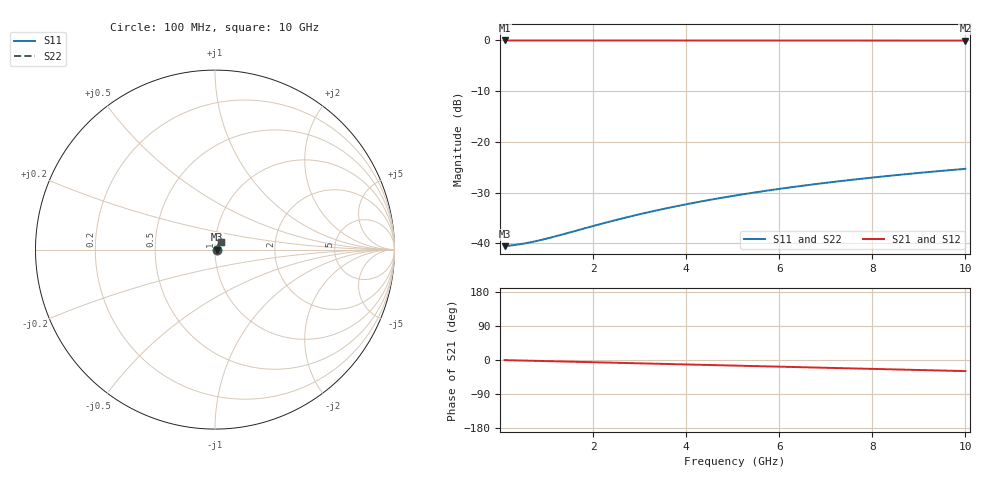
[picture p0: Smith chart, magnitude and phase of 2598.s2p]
# Hz S RI R 50.00
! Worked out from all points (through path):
!   100 points, 100 MHz to 10 GHz, reference 50 ohm
!   highest |S21| = -0.08 dB at 100 MHz (marker M1); lowest = -0.1 dB at 10 GHz (marker M2)
!   group delay of S21, straight-line fit = 8.14 ps
!   lowest |S11| = -40.5 dB at 100 MHz (marker M3), VSWR 1.02, Z = 50.9 + j0.0519 ohm
!   |S11| at or under -10 dB: start of sweep to end of sweep
!   |S22| runs from -40.5 to -25.3 dB; largest |S21 - S12| = 0
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1e8  0.00937 0.00051  0.9906 -0.00507  0.9906 -0.00507  0.00937 0.00051
4e8  0.00955 0.00204  0.9903 -0.0203  0.9903 -0.0203  0.00955 0.00204
6e8  0.00966 0.00305  0.9899 -0.0304  0.9899 -0.0304  0.00966 0.00305
8e8  0.00978 0.00406  0.9895 -0.0405  0.9895 -0.0405  0.00978 0.00406
1e9  0.00991 0.00507  0.989 -0.0506  0.989 -0.0506  0.00991 0.00507
1.2e9  0.0101 0.00608  0.9884 -0.0608  0.9884 -0.0608  0.0101 0.00608
1.8e9  0.0106 0.00908  0.9859 -0.091  0.9859 -0.091  0.0106 0.00908
2.2e9  0.0111 0.0111  0.9838 -0.1112  0.9838 -0.1112  0.0111 0.0111
2.6e9  0.0116 0.013  0.9812 -0.1313  0.9812 -0.1313  0.0116 0.013
3e9  0.0123 0.015  0.9782 -0.1513  0.9782 -0.1513  0.0123 0.015
3.4e9  0.013 0.0169  0.9748 -0.1713  0.9748 -0.1713  0.013 0.0169
3.8e9  0.0138 0.0187  0.971 -0.1912  0.971 -0.1912  0.0138 0.0187
4.2e9  0.0146 0.0206  0.9668 -0.211  0.9668 -0.211  0.0146 0.0206
4.6e9  0.0155 0.0224  0.9622 -0.2307  0.9622 -0.2307  0.0155 0.0224
5.1e9  0.0168 0.0246  0.9559 -0.2552  0.9559 -0.2552  0.0168 0.0246
5.5e9  0.0179 0.0263  0.9504 -0.2747  0.9504 -0.2747  0.0179 0.0263
5.9e9  0.0191 0.0279  0.9445 -0.294  0.9445 -0.294  0.0191 0.0279
6.7e9  0.0216 0.0311  0.9314 -0.3323  0.9314 -0.3323  0.0216 0.0311
7.5e9  0.0244 0.034  0.9169 -0.3701  0.9169 -0.3701  0.0244 0.034
8.4e9  0.0279 0.037  0.8986 -0.4117  0.8986 -0.4117  0.0279 0.037
9.2e9  0.0312 0.0394  0.8808 -0.448  0.8808 -0.448  0.0312 0.0394
1e10  0.0346 0.0416  0.8615 -0.4835  0.8615 -0.4835  0.0346 0.0416
